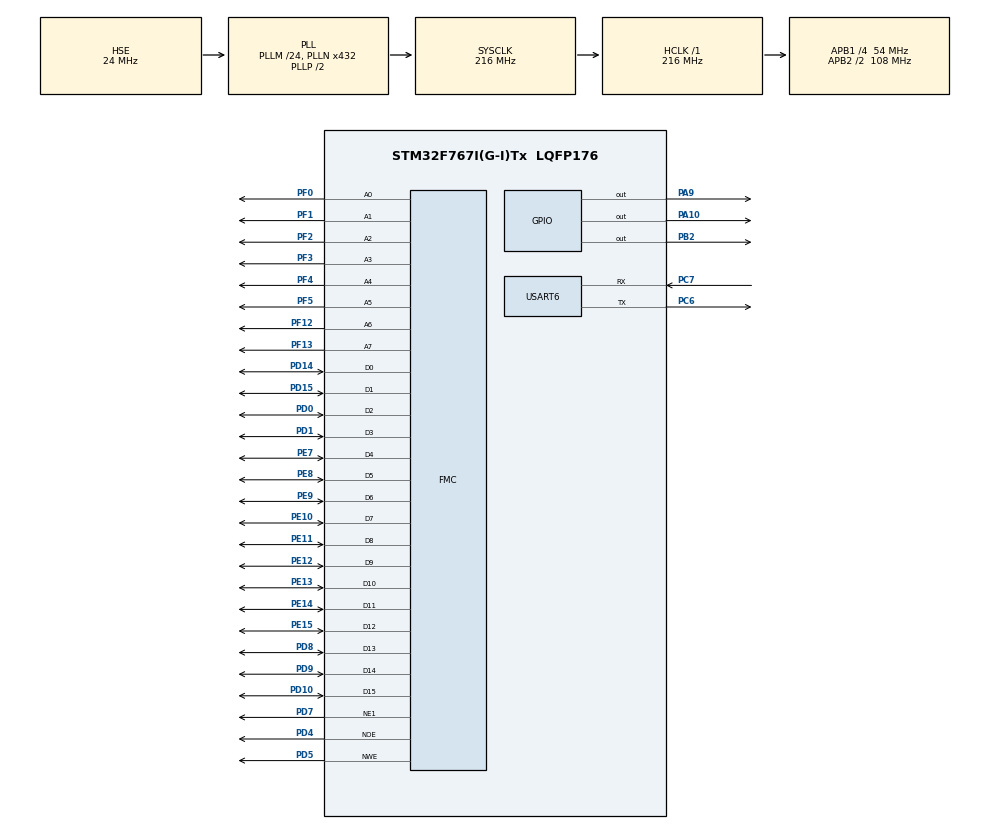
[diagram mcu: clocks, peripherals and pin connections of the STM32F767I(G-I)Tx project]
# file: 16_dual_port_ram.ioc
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FMC.AddressSetupTime1=9
FMC.BusTurnAroundDuration1=0
FMC.DataSetupTime1=8
Mcu.Family=STM32F7
Mcu.Name=STM32F767I(G-I)Tx
Mcu.Package=LQFP176
NVIC.PriorityGroup=NVIC_PRIORITYGROUP_4
NVIC.USART6_IRQn=true\:1\:0\:true\:false\:true
PA10.GPIO_PuPd=GPIO_PULLUP
PA10.GPIO_Speed=GPIO_SPEED_FREQ_VERY_HIGH
PA10.PinState=GPIO_PIN_SET
PA10.Signal=GPIO_Output
PA13.Mode=Serial_Wire
PA13.Signal=SYS_JTMS-SWDIO
PA14.Mode=Serial_Wire
PA14.Signal=SYS_JTCK-SWCLK
PA9.GPIO_PuPd=GPIO_PULLUP
PA9.GPIO_Speed=GPIO_SPEED_FREQ_VERY_HIGH
PA9.PinState=GPIO_PIN_SET
PA9.Signal=GPIO_Output
PB2.GPIO_PuPd=GPIO_PULLUP
PB2.GPIO_Speed=GPIO_SPEED_FREQ_VERY_HIGH
PB2.PinState=GPIO_PIN_SET
PB2.Signal=GPIO_Output
PC6.Mode=Asynchronous
PC6.Signal=USART6_TX
PC7.Mode=Asynchronous
PC7.Signal=USART6_RX
PD0.Signal=FMC_D2_DA2
PD1.Signal=FMC_D3_DA3
PD10.Signal=FMC_D15_DA15
PD14.Signal=FMC_D0_DA0
PD15.Signal=FMC_D1_DA1
PD4.Signal=FMC_NOE
PD5.Signal=FMC_NWE
PD7.Mode=NorPsramChipSelect1_1
PD7.Signal=FMC_NE1
PD8.Signal=FMC_D13_DA13
PD9.Signal=FMC_D14_DA14
PE10.Signal=FMC_D7_DA7
PE11.Signal=FMC_D8_DA8
PE12.Signal=FMC_D9_DA9
PE13.Signal=FMC_D10_DA10
PE14.Signal=FMC_D11_DA11
PE15.Signal=FMC_D12_DA12
PE7.Signal=FMC_D4_DA4
PE8.Signal=FMC_D5_DA5
PE9.Signal=FMC_D6_DA6
PF0.Signal=FMC_A0
PF1.Signal=FMC_A1
PF12.Signal=FMC_A6
PF13.Signal=FMC_A7
PF2.Signal=FMC_A2
PF3.Signal=FMC_A3
PF4.Signal=FMC_A4
PF5.Signal=FMC_A5
PH0/OSC_IN.Mode=HSE-External-Oscillator
PH0/OSC_IN.Signal=RCC_OSC_IN
PH1/OSC_OUT.Mode=HSE-External-Oscillator
PH1/OSC_OUT.Signal=RCC_OSC_OUT
ProjectManager.HeapSize=0x200
ProjectManager.StackSize=0x400
ProjectManager.TargetToolchain=MDK-ARM V5
RCC.AHBFreq_Value=216000000
RCC.APB1CLKDivider=RCC_HCLK_DIV4
RCC.APB1Freq_Value=54000000
RCC.APB1TimFreq_Value=108000000
RCC.APB2CLKDivider=RCC_HCLK_DIV2
RCC.APB2Freq_Value=108000000
RCC.APB2TimFreq_Value=216000000
RCC.CortexFreq_Value=216000000
RCC.HCLKFreq_Value=216000000
RCC.HSE_VALUE=24000000
RCC.HSI_VALUE=16000000
RCC.LSE_VALUE=32768
RCC.PLLM=24
RCC.PLLN=432
RCC.PLLSourceVirtual=RCC_PLLSOURCE_HSE
RCC.SYSCLKFreq_VALUE=216000000
RCC.SYSCLKSource=RCC_SYSCLKSOURCE_PLLCLK
RCC.USBFreq_Value=216000000
RCC.VCOOutputFreq_Value=432000000
SH.FMC_A0.0=FMC_A0,8b-a1
SH.FMC_A1.0=FMC_A1,8b-a1
SH.FMC_A2.0=FMC_A2,8b-a1
SH.FMC_A3.0=FMC_A3,8b-a1
SH.FMC_A4.0=FMC_A4,8b-a1
SH.FMC_A5.0=FMC_A5,8b-a1
SH.FMC_A6.0=FMC_A6,8b-a1
SH.FMC_A7.0=FMC_A7,8b-a1
SH.FMC_D0_DA0.0=FMC_D0,16b-d1
SH.FMC_D10_DA10.0=FMC_D10,16b-d1
SH.FMC_D11_DA11.0=FMC_D11,16b-d1
SH.FMC_D12_DA12.0=FMC_D12,16b-d1
SH.FMC_D13_DA13.0=FMC_D13,16b-d1
SH.FMC_D14_DA14.0=FMC_D14,16b-d1
SH.FMC_D15_DA15.0=FMC_D15,16b-d1
SH.FMC_D1_DA1.0=FMC_D1,16b-d1
SH.FMC_D2_DA2.0=FMC_D2,16b-d1
SH.FMC_D3_DA3.0=FMC_D3,16b-d1
SH.FMC_D4_DA4.0=FMC_D4,16b-d1
SH.FMC_D5_DA5.0=FMC_D5,16b-d1
SH.FMC_D6_DA6.0=FMC_D6,16b-d1
SH.FMC_D7_DA7.0=FMC_D7,16b-d1
SH.FMC_D8_DA8.0=FMC_D8,16b-d1
SH.FMC_D9_DA9.0=FMC_D9,16b-d1
SH.FMC_NOE.0=FMC_NOE,NorFlash1
SH.FMC_NWE.0=FMC_NWE,NorFlash1
USART6.VirtualMode-Asynchronous=VM_ASYNC
USART6.WordLength=WORDLENGTH_8B
board=16_dual_port_ram

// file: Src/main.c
/**
  ******************************************************************************
  * File Name          : main.c
  * Description        : Main program body
  ******************************************************************************
  ** This notice applies to any and all portions of this file
  * that are not between comment pairs USER CODE BEGIN and
  * USER CODE END. Other portions of this file, whether
  * inserted by the user or by software development tools
  * are owned by their respective copyright owners.
  *
  * COPYRIGHT(c) 2017 STMicroelectronics
  *
  * Redistribution and use in source and binary forms, with or without modification,
  * are permitted provided that the following conditions are met:
  *   1. Redistributions of source code must retain the above copyright notice,
  *      this list of conditions and the following disclaimer.
  *   2. Redistributions in binary form must reproduce the above copyright notice,
  *      this list of conditions and the following disclaimer in the documentation
  *      and/or other materials provided with the distribution.
  *   3. Neither the name of STMicroelectronics nor the names of its contributors
  *      may be used to endorse or promote products derived from this software
  *      without specific prior written permission.
  *
  * THIS SOFTWARE IS PROVIDED BY THE COPYRIGHT HOLDERS AND CONTRIBUTORS "AS IS"
  * AND ANY EXPRESS OR IMPLIED WARRANTIES, INCLUDING, BUT NOT LIMITED TO, THE
  * IMPLIED WARRANTIES OF MERCHANTABILITY AND FITNESS FOR A PARTICULAR PURPOSE ARE
  * DISCLAIMED. IN NO EVENT SHALL THE COPYRIGHT HOLDER OR CONTRIBUTORS BE LIABLE
  * FOR ANY DIRECT, INDIRECT, INCIDENTAL, SPECIAL, EXEMPLARY, OR CONSEQUENTIAL
  * DAMAGES (INCLUDING, BUT NOT LIMITED TO, PROCUREMENT OF SUBSTITUTE GOODS OR
  * SERVICES; LOSS OF USE, DATA, OR PROFITS; OR BUSINESS INTERRUPTION) HOWEVER
  * CAUSED AND ON ANY THEORY OF LIABILITY, WHETHER IN CONTRACT, STRICT LIABILITY,
  * OR TORT (INCLUDING NEGLIGENCE OR OTHERWISE) ARISING IN ANY WAY OUT OF THE USE
  * OF THIS SOFTWARE, EVEN IF ADVISED OF THE POSSIBILITY OF SUCH DAMAGE.
  *
  ******************************************************************************
  */
#include "main.h"
#include "stm32f7xx_hal.h"
#include "usart.h"
#include "gpio.h"
#include "fmc.h"

/* USER CODE BEGIN Includes */
#include "usart6.h"
#include <ctype.h>
#include <string.h>
#include <stdlib.h>
#include <stdio.h>
/* USER CODE END Includes */

/* USER CODE BEGIN PV */
/* Private variables ---------------------------------------------------------*/

/* USER CODE END PV */

void SystemClock_Config(void);

/* USER CODE BEGIN PFP */
/* Private function prototypes -----------------------------------------------*/

/* USER CODE END PFP */

/* USER CODE BEGIN 0 */
/*
	实验现象：

	本实验测试FPGA双口RAM，通过总线从RAM B口读取数据。

	读FPGA RAM命令：read:地址(0-255)\cr\lf
*/
/* USER CODE END 0 */

int main(void)
{

  /* USER CODE BEGIN 1 */
	int i;
	int address,data;
	char error_flag = 0;
	char receive_data[50];
	char buffer[8];
	char *p;
  /* USER CODE END 1 */

  /* MCU Configuration----------------------------------------------------------*/

  /* Reset of all peripherals, Initializes the Flash interface and the Systick. */
  HAL_Init();

  /* Configure the system clock */
  SystemClock_Config();

  /* Initialize all configured peripherals */
  MX_GPIO_Init();
  MX_USART6_UART_Init();
  MX_FMC_Init();

  /* USER CODE BEGIN 2 */
	usart6.initialize(115200);
	usart6.printf("Hello, I am iCore4!\r\n");
	LED_GREEN_ON;
  /* USER CODE END 2 */

  /* Infinite loop */
  while (1)
  {

  /* USER CODE BEGIN 3 */
		if(usart6.receive_ok_flag == 1){
			usart6.receive_ok_flag = 0;
			memset(receive_data,0,sizeof(receive_data));
			memset(buffer,0,sizeof(buffer));
			for(i = 0;i < 30;i ++){
				receive_data[i] = usart6.receive_buffer[i];
			}
			p = receive_data;
			i = 0;
			while(*p != ':'){									//获取操作命令（write or read）
				buffer[i++] = *p++;
				if(i > sizeof(buffer))i = 0;
			}
			for(i = 0;i < sizeof(buffer);i++){//将命令转化为小写字符
				buffer[i] = tolower(buffer[i]);
			}

			if(memcmp(buffer,"read",strlen("read")) == 0){//执行读操作
				error_flag = 0;
				p++;
				address = atoi(p);
				if(address > 255)error_flag = 1;
				p++;
				if(strchr(p,','))error_flag = 1;
				if(!error_flag){
					data = fpga_read(address);
					usart6.printf("Read FPGA Ram:%d\r\n",data);
				}
			}else{
				error_flag = 1;
			}

			if(error_flag){
				LED_RED_ON;
				LED_GREEN_OFF;
				usart6.printf("Bad Command!\r\n");
			}else{
				LED_RED_OFF;
				LED_GREEN_ON;
			}
		}
  }
  /* USER CODE END 3 */

}

/** System Clock Configuration
*/
void SystemClock_Config(void)
{

  RCC_OscInitTypeDef RCC_OscInitStruct;
  RCC_ClkInitTypeDef RCC_ClkInitStruct;
  RCC_PeriphCLKInitTypeDef PeriphClkInitStruct;

    /**Configure the main internal regulator output voltage
    */
  __HAL_RCC_PWR_CLK_ENABLE();

  __HAL_PWR_VOLTAGESCALING_CONFIG(PWR_REGULATOR_VOLTAGE_SCALE1);

    /**Initializes the CPU, AHB and APB busses clocks
    */
  RCC_OscInitStruct.OscillatorType = RCC_OSCILLATORTYPE_HSE;
  RCC_OscInitStruct.HSEState = RCC_HSE_ON;
  RCC_OscInitStruct.PLL.PLLState = RCC_PLL_ON;
  RCC_OscInitStruct.PLL.PLLSource = RCC_PLLSOURCE_HSE;
  RCC_OscInitStruct.PLL.PLLM = 24;
  RCC_OscInitStruct.PLL.PLLN = 432;
  RCC_OscInitStruct.PLL.PLLP = RCC_PLLP_DIV2;
  RCC_OscInitStruct.PLL.PLLQ = 2;
  if (HAL_RCC_OscConfig(&RCC_OscInitStruct) != HAL_OK)
  {
    _Error_Handler(__FILE__, __LINE__);
  }

    /**Activate the Over-Drive mode
    */
  if (HAL_PWREx_EnableOverDrive() != HAL_OK)
  {
    _Error_Handler(__FILE__, __LINE__);
  }

    /**Initializes the CPU, AHB and APB busses clocks
    */
  RCC_ClkInitStruct.ClockType = RCC_CLOCKTYPE_HCLK|RCC_CLOCKTYPE_SYSCLK
                              |RCC_CLOCKTYPE_PCLK1|RCC_CLOCKTYPE_PCLK2;
  RCC_ClkInitStruct.SYSCLKSource = RCC_SYSCLKSOURCE_PLLCLK;
  RCC_ClkInitStruct.AHBCLKDivider = RCC_SYSCLK_DIV1;
  RCC_ClkInitStruct.APB1CLKDivider = RCC_HCLK_DIV4;
  RCC_ClkInitStruct.APB2CLKDivider = RCC_HCLK_DIV2;

  if (HAL_RCC_ClockConfig(&RCC_ClkInitStruct, FLASH_LATENCY_7) != HAL_OK)
  {
    _Error_Handler(__FILE__, __LINE__);
  }

  PeriphClkInitStruct.PeriphClockSelection = RCC_PERIPHCLK_USART6;
  PeriphClkInitStruct.Usart6ClockSelection = RCC_USART6CLKSOURCE_PCLK2;
  if (HAL_RCCEx_PeriphCLKConfig(&PeriphClkInitStruct) != HAL_OK)
  {
    _Error_Handler(__FILE__, __LINE__);
  }

    /**Configure the Systick interrupt time
    */
  HAL_SYSTICK_Config(HAL_RCC_GetHCLKFreq()/1000);

    /**Configure the Systick
    */
  HAL_SYSTICK_CLKSourceConfig(SYSTICK_CLKSOURCE_HCLK);

  /* SysTick_IRQn interrupt configuration */
  HAL_NVIC_SetPriority(SysTick_IRQn, 0, 0);
}

void _Error_Handler(char * file, int line)
{
  while(1)
  {
  }
}

/************************ (C) COPYRIGHT STMicroelectronics *****END OF FILE****/
